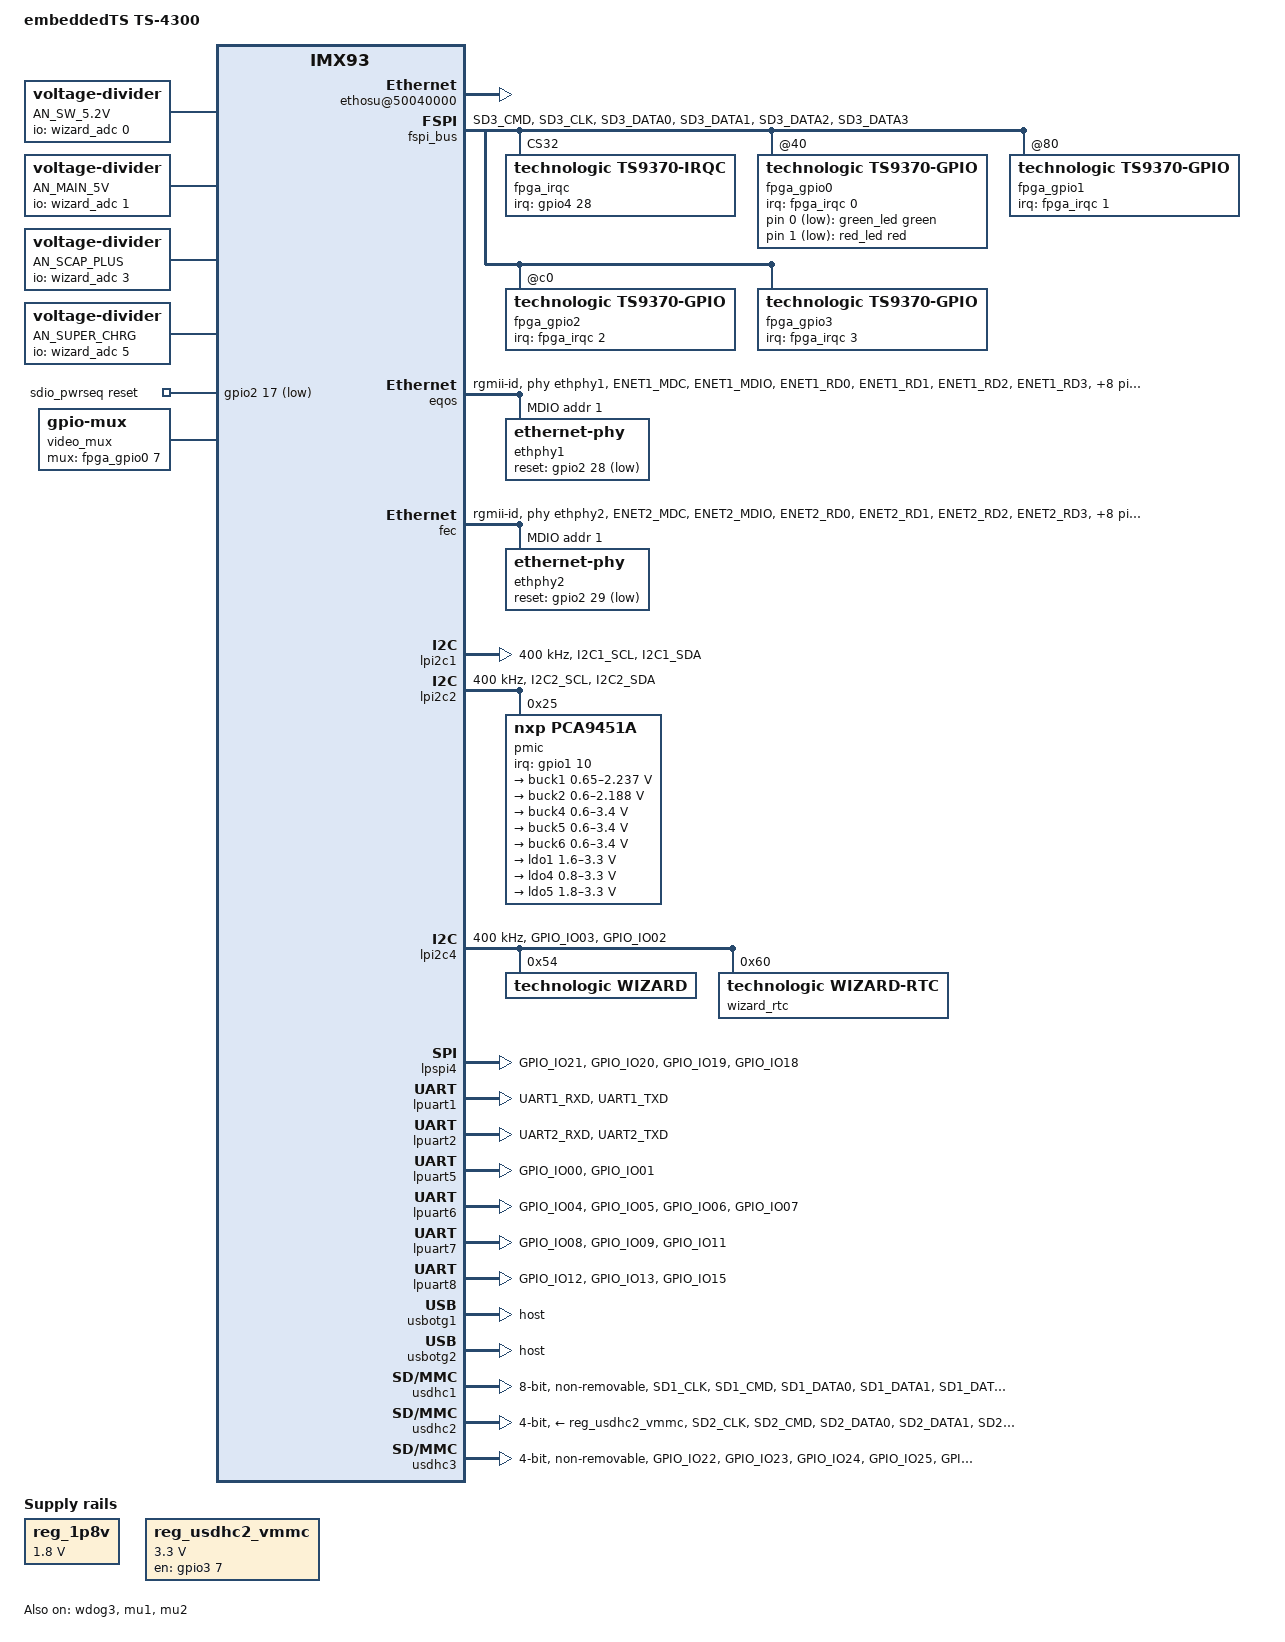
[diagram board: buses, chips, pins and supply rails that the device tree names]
// SPDX-License-Identifier: (GPL-2.0+ OR MIT)
/*
 * Copyright 2023-2025 Technologic Systems, Inc. (dba embeddedTS)
 */

/dts-v1/;

#include <dt-bindings/leds/common.h>
#include "imx93.dtsi"

/ {
	model = "embeddedTS TS-4300";
	compatible = "technologic,ts4300", "fsl,imx93";

	chosen {
		bootargs = "console=ttyLP0,115200";
		stdout-path = &lpuart1;
	};

	aliases {
		gpio4 = &fpga_gpio0;
		gpio5 = &fpga_gpio1;
		gpio6 = &fpga_gpio2;
		gpio7 = &fpga_gpio3;
	};

	reserved-memory {
		#address-cells = <2>;
		#size-cells = <2>;
		ranges;

		linux,cma {
			compatible = "shared-dma-pool";
			reusable;
			alloc-ranges = <0 0x80000000 0 0x40000000>;
			size = <0 0x10000000>;
			linux,cma-default;
		};

		vdev0vring0: vdev0vring0@a4000000 {
			reg = <0 0xa4000000 0 0x8000>;
			no-map;
		};

		vdev0vring1: vdev0vring1@a4008000 {
			reg = <0 0xa4008000 0 0x8000>;
			no-map;
		};

		vdev1vring0: vdev1vring0@a4010000 {
			reg = <0 0xa4010000 0 0x8000>;
			no-map;
		};

		vdev1vring1: vdev1vring1@a4018000 {
			reg = <0 0xa4018000 0 0x8000>;
			no-map;
		};

		rsc_table: rsc-table@2021e000 {
			reg = <0 0x2021e000 0 0x1000>;
			no-map;
		};

		vdevbuffer: vdevbuffer@a4020000 {
			compatible = "shared-dma-pool";
			reg = <0 0xa4020000 0 0x100000>;
			no-map;
		};

		ele_reserved: ele-reserved@a4120000 {
			compatible = "shared-dma-pool";
			reg = <0 0xa4120000 0 0x100000>;
			no-map;
		};

		ethosu_mem: ethosu-reserved@a5000000 {
			compatible = "shared-dma-pool";
			reg = <0x0 0xa5000000 0x0 0x10000000>;  /* 256 MB */
			reusable;
		};
	};

	ethosu@50040000 {
		compatible = "arm,ethosu";
		//fsl,cm33-proc = <&cm33>;
		memory-region = <&ethosu_mem>;
		power-domains = <&mlmix>;
	};

	leds {
		compatible = "gpio-leds";

		green_led: led-0 {
			color = <LED_COLOR_ID_GREEN>;
			function = LED_FUNCTION_POWER;
			gpios = <&fpga_gpio0 0 GPIO_ACTIVE_LOW>;
			default-state = "on";
		};

		red_led: led-1 {
			color = <LED_COLOR_ID_RED>;
			function = LED_FUNCTION_STATUS;
			gpios = <&fpga_gpio0 1 GPIO_ACTIVE_LOW>;
			default-state = "off";
		};
	};

	reg_1p8v: regulator-1p8v {
		compatible = "regulator-fixed";
		regulator-name = "VDD_1V8";
		regulator-min-microvolt = <1800000>;
		regulator-max-microvolt = <1800000>;
		regulator-boot-on;
		regulator-always-on;
	};

	reg_usdhc2_vmmc: regulator-usdhc2 {
		compatible = "regulator-fixed";
		pinctrl-names = "default";
		pinctrl-0 = <&pinctrl_reg_usdhc2_vmmc>;
		regulator-name = "VSD_3V3";
		regulator-min-microvolt = <3300000>;
		regulator-max-microvolt = <3300000>;
		gpio = <&gpio3 7 GPIO_ACTIVE_HIGH>;
		off-on-delay-us = <12000>;
		enable-active-high;
	};

	an_5p2va: an-5p2va {
		compatible = "voltage-divider";
		io-channels = <&wizard_adc 0>;
		label = "AN_SW_5.2V";
		output-ohms = <75000>; /* R2: 75k */
		full-ohms = <150000>;  /* R1 (75k) + R2 (75k) */
		#io-channel-cells = <0>;
	};

	an_main_5v: an-main-5v {
		compatible = "voltage-divider";
		io-channels = <&wizard_adc 1>;
		label = "AN_MAIN_5V";
		output-ohms = <100000>; /* R2: 100k */
		full-ohms = <200000>;  /* R1 (100k) + R2 (100k) */
		#io-channel-cells = <0>;
	};

	an_scap_plus: an-scap-plus {
		compatible = "voltage-divider";
		io-channels = <&wizard_adc 3>;
		label = "AN_SCAP_PLUS";
		output-ohms = <100000>; /* R2: 100k */
		full-ohms = <200000>;  /* R1 (100k) + R2 (100k) */
		#io-channel-cells = <0>;
	};

	an_vchrg: an-vchrg {
		compatible = "voltage-divider";
		io-channels = <&wizard_adc 5>;
		label = "AN_SUPER_CHRG";
		output-ohms = <100000>; /* R2: 100k */
		full-ohms = <200000>;  /* R1 (100k) + R2 (100k) */
		#io-channel-cells = <0>;
	};

	sdio_pwrseq: sdio-pwrseq {
		compatible = "mmc-pwrseq-simple";
		pinctrl-names = "default";
		pinctrl-0 = <&pinctrl_wifi_pwr>;
		reset-gpios = <&gpio2 17 GPIO_ACTIVE_LOW>;
	};

	video_mux: mux-controller {
		compatible = "gpio-mux";
		#mux-state-cells = <0>;
		mux-gpios = <&fpga_gpio0 7 GPIO_ACTIVE_HIGH>;
		idle-state = <0>;
	};
};

&aips2 {
	fspi_bus: fspi-bus@425e0000 {
		compatible = "nxp,imx93-fspi-bus";
		reg = <0x425e0000 0x10000>, <0x28000000 0x10000000>;
		reg-names = "fspi_base", "fspi_mmap";
		#address-cells = <1>;
		#size-cells = <1>;
		clocks = <&clk IMX93_CLK_FLEXSPI1_GATE>,
			 <&clk IMX93_CLK_FLEXSPI1_GATE>;
		clock-names = "fspi", "fspi_en";
		assigned-clocks = <&clk IMX93_CLK_FLEXSPI1>;
		assigned-clock-parents = <&clk IMX93_CLK_SYS_PLL_PFD1>;

		pinctrl-names = "default";
		pinctrl-0 = <&pinctrl_flexspi>;
		
		assigned-clock-rates = <66666666>;
		ranges = <0 0x28000000 0x10000000>;

		fpga_irqc: irq@28000020 {
			compatible = "technologic,ts9370-irqc";
			reg = <0x20 0x20>;
			pinctrl-names = "default";
			pinctrl-0 = <&pinctrl_fpga_irq>;

			interrupt-parent = <&gpio4>;
			interrupts = <28 IRQ_TYPE_LEVEL_HIGH>;

			#interrupt-cells = <1>;
			interrupt-controller;
		};

		fpga_gpio0: gpio@28000040 {
			compatible = "technologic,ts9370-gpio";
			reg = <0x40 0x40>;

			gpio-controller;
			#gpio-cells = <2>;

			interrupt-parent = <&fpga_irqc>;
			interrupts = <0>;
			#interrupt-cells = <2>;
			interrupt-controller;

			gpio-line-names =
				"EN_GREEN_LED#", "EN_RED_LED#", "", "", "SPI4_CN2_CS#",
				"EN_USB_HOST_5V", "OFF_BD_RESET#", "SEL_LVDS", "SPI_4_CS#_1V8";
		};

		fpga_gpio1: gpio@28000080 {
			compatible = "technologic,ts9370-gpio";
			reg = <0x80 0x40>;

			gpio-controller;
			#gpio-cells = <2>;

			interrupt-parent = <&fpga_irqc>;
			interrupts = <1>;
			#interrupt-cells = <2>;
			interrupt-controller;

			gpio-line-names =
				"DIO_01", "DIO_02", "DIO_03", "DIO_04", "DIO_05",
				"DIO_06", "DIO_07", "DIO_08", "DIO_09", "DIO_10",
				"DIO_11", "DIO_12", "DIO_13", "DIO_14", "DIO_15",
				"DIO_16", "DIO_17", "DIO_18", "DIO_19", "DIO_20",
				"DIO_21", "DIO_22", "DIO_23", "DIO_24", "DIO_25",
				"DIO_26", "DIO_27", "DIO_28", "DIO_29", "DIO_30",
				"DIO_31", "DIO_32";
		};

		fpga_gpio2: gpio@280000c0 {
			compatible = "technologic,ts9370-gpio";
			reg = <0xC0 0x40>;

			gpio-controller;
			#gpio-cells = <2>;

			interrupt-parent = <&fpga_irqc>;
			interrupts = <2>;
			#interrupt-cells = <2>;
			interrupt-controller;
			gpio-line-names =
				"DIO_33", "DIO_34", "DIO_35", "DIO_36", "DIO_37",
				"DIO_38", "DIO_39", "DIO_40", "DIO_41", "DIO_42",
				"DIO_43", "DIO_44", "DIO_45", "DIO_46", "DIO_47",
				"DIO_48", "DIO_49", "DIO_50", "DIO_51", "DIO_52",
				"DIO_53", "DIO_54", "DIO_55", "DIO_56", "DIO_57",
				"DIO_58", "DIO_59", "DIO_60", "DIO_61", "DIO_62",
				"DIO_63", "DIO_64";
		};

		fpga_gpio3: gpio@28000100 {
			compatible = "technologic,ts9370-gpio";
			reg = <0x100 0x40>;

			gpio-controller;
			#gpio-cells = <2>;

			interrupt-parent = <&fpga_irqc>;
			interrupts = <3>;
			#interrupt-cells = <2>;
			interrupt-controller;

			gpio-line-names =
				"DIO_65", "DIO_66", "DIO_67", "DIO_68","DIO_69",
				"DIO_70", "DIO_71", "DIO_72", "DIO_73", "DIO_74",
				"DIO_75", "DIO_76", "DIO_77", "DIO_78", "DIO_79",
				"DIO_80", "DIO_81", "DIO_82", "DIO_83", "DIO_84",
				"DIO_85", "DIO_86", "DIO_87", "DIO_88", "DIO_89",
				"DIO_90";
		};

		fpga_xbar: pinctrl@28002000 {
			compatible = "technologic,ts9370-xbar";
			reg = <0x2000 0x200>;
		};
	};
};

&bbnsm_rtc {
	status = "disabled";
};

//&cm33 {
//	mbox-names = "tx", "rx", "rxdb";
//	mboxes = <&mu1 0 1>,
//		 <&mu1 1 1>,
//		 <&mu1 3 1>;
//	memory-region = <&vdevbuffer>, <&vdev0vring0>, <&vdev0vring1>,
//			<&vdev1vring0>, <&vdev1vring1>, <&rsc_table>;
//	status = "okay";
//};

&eqos {
	pinctrl-names = "default", "sleep";
	pinctrl-0 = <&pinctrl_eqos>;
	pinctrl-1 = <&pinctrl_eqos_sleep>;
	phy-mode = "rgmii-id";
	phy-handle = <&ethphy1>;
	status = "okay";

	mdio {
		compatible = "snps,dwmac-mdio";
		#address-cells = <1>;
		#size-cells = <0>;
		clock-frequency = <5000000>;

		ethphy1: ethernet-phy@1 {
			//compatible = "ethernet-phy-ieee802.3-c22";
			reg = <1>;
			eee-broken-1000t;
			pinctrl-names = "default";
			pinctrl-0 = <&pinctrl_eqos_phy>;
			reset-gpios = <&gpio2 28 GPIO_ACTIVE_LOW>;
			reset-assert-us = <6>;
			reset-deassert-us = <50000>;
		};
	};
};

&fec {
	pinctrl-names = "default", "sleep";
	pinctrl-0 = <&pinctrl_fec>;
	pinctrl-1 = <&pinctrl_fec_sleep>;
	phy-mode = "rgmii-id";
	phy-handle = <&ethphy2>;
	fsl,magic-packet;
	status = "okay";

	mdio {
		#address-cells = <1>;
		#size-cells = <0>;
		clock-frequency = <5000000>;

		ethphy2: ethernet-phy@1 {
			//compatible = "ethernet-phy-ieee802.3-c22";
			reg = <1>;
			pinctrl-names = "default";
			pinctrl-0 = <&pinctrl_fec_phy>;
			eee-broken-1000t;
			reset-gpios = <&gpio2 29 GPIO_ACTIVE_LOW>;
			reset-assert-us = <6>;
			reset-deassert-us = <50000>;
		};
	};
};

&flexcan1 {
	pinctrl-names = "default";
	pinctrl-0 = <&pinctrl_flexcan1>;
	status = "disabled";
};

&flexcan2 {
	pinctrl-names = "default";
	pinctrl-0 = <&pinctrl_flexcan2>;
	status = "disabled";
};

//&lcdif {
//	status = "disabled";
//	assigned-clock-rates = <484000000>, <121000000>, <400000000>, <133333333>;
//};

&lpi2c1 {
	#address-cells = <1>;
	#size-cells = <0>;
	clock-frequency = <400000>;
	pinctrl-names = "default", "sleep";
	pinctrl-0 = <&pinctrl_lpi2c1>;
	pinctrl-1 = <&pinctrl_lpi2c1>;
	status = "okay";
};

&lpi2c2 {
	#address-cells = <1>;
	#size-cells = <0>;
	clock-frequency = <400000>;
	pinctrl-names = "default", "sleep";
	pinctrl-0 = <&pinctrl_lpi2c2>;
	pinctrl-1 = <&pinctrl_lpi2c2>;
	status = "okay";

	pmic@25 {
		compatible = "nxp,pca9451a";
		reg = <0x25>;
		pinctrl-names = "default";
		pinctrl-0 = <&pinctrl_pmic>;
		interrupt-parent = <&gpio1>;
		interrupts = <10 IRQ_TYPE_LEVEL_LOW>;

		regulators {
			buck1: BUCK1 {
				regulator-name = "BUCK1";
				regulator-min-microvolt = <650000>;
				regulator-max-microvolt = <2237500>;
				regulator-boot-on;
				regulator-always-on;
				regulator-ramp-delay = <3125>;
			};

			buck2: BUCK2 {
				regulator-name = "BUCK2";
				regulator-min-microvolt = <600000>;
				regulator-max-microvolt = <2187500>;
				regulator-boot-on;
				regulator-always-on;
				regulator-ramp-delay = <3125>;
			};

			buck4: BUCK4 {
				regulator-name = "BUCK4";
				regulator-min-microvolt = <600000>;
				regulator-max-microvolt = <3400000>;
				regulator-boot-on;
				regulator-always-on;
			};

			buck5: BUCK5 {
				regulator-name = "BUCK5";
				regulator-min-microvolt = <600000>;
				regulator-max-microvolt = <3400000>;
				regulator-boot-on;
				regulator-always-on;
			};

			buck6: BUCK6 {
				regulator-name = "BUCK6";
				regulator-min-microvolt = <600000>;
				regulator-max-microvolt = <3400000>;
				regulator-boot-on;
				regulator-always-on;
			};

			ldo1: LDO1 {
				regulator-name = "LDO1";
				regulator-min-microvolt = <1600000>;
				regulator-max-microvolt = <3300000>;
				regulator-boot-on;
				regulator-always-on;
			};

			ldo4: LDO4 {
				regulator-name = "LDO4";
				regulator-min-microvolt = <800000>;
				regulator-max-microvolt = <3300000>;
				regulator-boot-on;
				regulator-always-on;
			};

			ldo5: LDO5 {
				regulator-name = "LDO5";
				regulator-min-microvolt = <1800000>;
				regulator-max-microvolt = <3300000>;
				regulator-boot-on;
				regulator-always-on;
			};
		};
	};
};

&lpi2c4 {
	#address-cells = <1>;
	#size-cells = <0>;
	clock-frequency = <400000>;
	pinctrl-names = "default";
	pinctrl-0 = <&pinctrl_lpi2c4>;
	status = "okay";

	wizard: wizard@54 {
		compatible = "technologic,wizard";
		reg = <0x54>;

		wizard_adc: adc {
			compatible = "technologic,wizard-adc";
			#io-channel-cells = <1>;
		};

		wizard_irq: irq {
			compatible = "technologic,wizard-irq";
			pinctrl-names = "default";
			pinctrl-0 = <&pinctrl_wizirq>;

			interrupt-parent = <&gpio4>;
			interrupts = <29 IRQ_TYPE_LEVEL_HIGH>;

			#interrupt-cells = <1>;
			interrupt-controller;
		};

		wizard_silo: ups {
			compatible = "technologic,wizard-silo";
			interrupt-parent = <&wizard_irq>;
			interrupts = <0>;
			status = "disabled";
		};

		wizard_temp: temp {
			compatible = "technologic,wizard-temp";
			#io-channel-cells = <0>;
		};

		wizard_reset: reset {
			compatible = "technologic,wizard-reset";
		};
	};

	wizard_rtc: rtc@60 {
		compatible = "technologic,wizard-rtc";
		reg = <0x60>;
		wakeup-source;
	};
};

&lpspi4 {
	num-cs = <1>;
	pinctrl-names = "default";
	pinctrl-0 = <&pinctrl_lpspi4>;
	cs-gpios = <&gpio2 18 GPIO_ACTIVE_LOW>;
	status = "okay";
};

&lpuart1 {
	pinctrl-names = "default";
	pinctrl-0 = <&pinctrl_uart1>;
	status = "okay";
};

&lpuart2 {
	pinctrl-names = "default";
	pinctrl-0 = <&pinctrl_uart2>;
	status = "okay";
};

&lpuart5 {
	pinctrl-names = "default";
	pinctrl-0 = <&pinctrl_uart5>;
	status = "okay";
};

&lpuart6 {
	pinctrl-names = "default";
	pinctrl-0 = <&pinctrl_uart6>;
	uart-has-rtscts;
	status = "okay";
};

&lpuart7 {
	pinctrl-names = "default";
	pinctrl-0 = <&pinctrl_uart7>;
	status = "okay";
};

&lpuart8 {
	pinctrl-names = "default";
	pinctrl-0 = <&pinctrl_uart8>;
	status = "okay";
};

&usbotg1 {
	dr_mode = "host";
	status = "okay";
};

&usbotg2 {
	#address-cells = <1>;
	#size-cells = <0>;
	dr_mode = "host";
	status = "okay";
};

/* eMMC */
&usdhc1 {
	pinctrl-names = "default", "state_100mhz", "state_200mhz";
	pinctrl-0 = <&pinctrl_usdhc1>;
	pinctrl-1 = <&pinctrl_usdhc1_100mhz>;
	pinctrl-2 = <&pinctrl_usdhc1_200mhz>;
	bus-width = <8>;
	non-removable;
	status = "okay";
};

/* microSD */
&usdhc2 {
	pinctrl-names = "default", "state_100mhz", "state_200mhz";
	pinctrl-0 = <&pinctrl_usdhc2>, <&pinctrl_usdhc2_gpio>;
	pinctrl-1 = <&pinctrl_usdhc2_100mhz>, <&pinctrl_usdhc2_gpio>;
	pinctrl-2 = <&pinctrl_usdhc2_200mhz>, <&pinctrl_usdhc2_gpio>;
	cd-gpios = <&gpio3 00 GPIO_ACTIVE_LOW>;
	fsl,cd-gpio-wakeup-disable;
	vmmc-supply = <&reg_usdhc2_vmmc>;
	bus-width = <4>;
	status = "okay";
	no-sdio;
	no-mmc;
};

/* WiFi */
&usdhc3 {
	pinctrl-names = "default", "state_100mhz", "state_200mhz";
	pinctrl-0 = <&pinctrl_usdhc3>;
	pinctrl-1 = <&pinctrl_usdhc3_100mhz>;
	pinctrl-2 = <&pinctrl_usdhc3_200mhz>;
	mmc-pwrseq = <&sdio_pwrseq>;
	bus-width = <4>;
	keep-power-in-suspend;
	non-removable;
	wakeup-source;
	status = "okay";
};

&iomuxc {
	pinctrl-names = "default";

	pinctrl_eqos: eqosgrp {
		fsl,pins = <
			MX93_PAD_ENET1_MDC__ENET_QOS_MDC			0x57e
			MX93_PAD_ENET1_MDIO__ENET_QOS_MDIO			0x57e
			MX93_PAD_ENET1_RD0__ENET_QOS_RGMII_RD0			0x57e
			MX93_PAD_ENET1_RD1__ENET_QOS_RGMII_RD1			0x57e
			MX93_PAD_ENET1_RD2__ENET_QOS_RGMII_RD2			0x57e
			MX93_PAD_ENET1_RD3__ENET_QOS_RGMII_RD3			0x57e
			MX93_PAD_ENET1_RXC__CCM_ENET_QOS_CLOCK_GENERATE_RX_CLK	0x5fe
			MX93_PAD_ENET1_RX_CTL__ENET_QOS_RGMII_RX_CTL		0x57e
			MX93_PAD_ENET1_TD0__ENET_QOS_RGMII_TD0			0x57e
			MX93_PAD_ENET1_TD1__ENET_QOS_RGMII_TD1			0x57e
			MX93_PAD_ENET1_TD2__ENET_QOS_RGMII_TD2			0x57e
			MX93_PAD_ENET1_TD3__ENET_QOS_RGMII_TD3			0x57e
			MX93_PAD_ENET1_TXC__CCM_ENET_QOS_CLOCK_GENERATE_TX_CLK	0x5fe
			MX93_PAD_ENET1_TX_CTL__ENET_QOS_RGMII_TX_CTL		0x57e
		>;
	};

	pinctrl_eqos_sleep: eqossleepgrp {
		fsl,pins = <
			MX93_PAD_ENET1_MDC__GPIO4_IO00				0x31e
			MX93_PAD_ENET1_MDIO__GPIO4_IO01				0x31e
			MX93_PAD_ENET1_RD0__GPIO4_IO10				0x31e
			MX93_PAD_ENET1_RD1__GPIO4_IO11				0x31e
			MX93_PAD_ENET1_RD2__GPIO4_IO12				0x31e
			MX93_PAD_ENET1_RD3__GPIO4_IO13				0x31e
			MX93_PAD_ENET1_RXC__GPIO4_IO09				0x31e
			MX93_PAD_ENET1_RX_CTL__GPIO4_IO08			0x31e
			MX93_PAD_ENET1_TD0__GPIO4_IO05				0x31e
			MX93_PAD_ENET1_TD1__GPIO4_IO04				0x31e
			MX93_PAD_ENET1_TD2__GPIO4_IO03				0x31e
			MX93_PAD_ENET1_TD3__GPIO4_IO02				0x31e
			MX93_PAD_ENET1_TXC__GPIO4_IO07				0x31e
			MX93_PAD_ENET1_TX_CTL__GPIO4_IO06			0x31e
		>;
	};

	pinctrl_eqos_phy: eqosphygrp {
		fsl,pins = <
			MX93_PAD_GPIO_IO28__GPIO2_IO28		0x1306
		>;
	};

	pinctrl_flexcan1: flexcan1grp {
		fsl,pins = <
			MX93_PAD_PDM_CLK__CAN1_TX		0x139e
			MX93_PAD_PDM_BIT_STREAM0__CAN1_RX	0x139e
		>;
	};

	pinctrl_flexcan2: flexcan2grp {
		fsl,pins = <
			MX93_PAD_DAP_TDI__CAN2_TX		0x139e
			MX93_PAD_DAP_TDO_TRACESWO__CAN2_RX	0x139e
		>;
	};

	pinctrl_flexspi: flexspigrp {
		fsl,pins = <
			MX93_PAD_SD3_CMD__FLEXSPI1_A_SS0_B      0x42
			MX93_PAD_SD3_CLK__FLEXSPI1_A_SCLK       0x42
			MX93_PAD_SD3_DATA0__FLEXSPI1_A_DATA00   0x42
			MX93_PAD_SD3_DATA1__FLEXSPI1_A_DATA01   0x42
			MX93_PAD_SD3_DATA2__FLEXSPI1_A_DATA02   0x42
			MX93_PAD_SD3_DATA3__FLEXSPI1_A_DATA03   0x42
		>;
	};

	pinctrl_fec: fecgrp {
		fsl,pins = <
			MX93_PAD_ENET2_MDC__ENET1_MDC			0x57e
			MX93_PAD_ENET2_MDIO__ENET1_MDIO			0x57e
			MX93_PAD_ENET2_RD0__ENET1_RGMII_RD0		0x57e
			MX93_PAD_ENET2_RD1__ENET1_RGMII_RD1		0x57e
			MX93_PAD_ENET2_RD2__ENET1_RGMII_RD2		0x57e
			MX93_PAD_ENET2_RD3__ENET1_RGMII_RD3		0x57e
			MX93_PAD_ENET2_RXC__ENET1_RGMII_RXC		0x5fe
			MX93_PAD_ENET2_RX_CTL__ENET1_RGMII_RX_CTL	0x57e
			MX93_PAD_ENET2_TD0__ENET1_RGMII_TD0		0x57e
			MX93_PAD_ENET2_TD1__ENET1_RGMII_TD1		0x57e
			MX93_PAD_ENET2_TD2__ENET1_RGMII_TD2		0x57e
			MX93_PAD_ENET2_TD3__ENET1_RGMII_TD3		0x57e
			MX93_PAD_ENET2_TXC__ENET1_RGMII_TXC		0x5fe
			MX93_PAD_ENET2_TX_CTL__ENET1_RGMII_TX_CTL	0x57e
		>;
	};

	pinctrl_fec_sleep: fecsleepgrp {
		fsl,pins = <
			MX93_PAD_ENET2_MDC__GPIO4_IO14			0x51e
			MX93_PAD_ENET2_MDIO__GPIO4_IO15			0x51e
			MX93_PAD_ENET2_RD0__GPIO4_IO24			0x51e
			MX93_PAD_ENET2_RD1__GPIO4_IO25			0x51e
			MX93_PAD_ENET2_RD2__GPIO4_IO26			0x51e
			MX93_PAD_ENET2_RD3__GPIO4_IO27			0x51e
			MX93_PAD_ENET2_RXC__GPIO4_IO23                  0x51e
			MX93_PAD_ENET2_RX_CTL__GPIO4_IO22		0x51e
			MX93_PAD_ENET2_TD0__GPIO4_IO19			0x51e
			MX93_PAD_ENET2_TD1__GPIO4_IO18			0x51e
			MX93_PAD_ENET2_TD2__GPIO4_IO17			0x51e
			MX93_PAD_ENET2_TD3__GPIO4_IO16			0x51e
			MX93_PAD_ENET2_TXC__GPIO4_IO21                  0x51e
			MX93_PAD_ENET2_TX_CTL__GPIO4_IO20               0x51e
		>;
	};

	pinctrl_fec_phy: fecphygrp {
		fsl,pins = <
			MX93_PAD_GPIO_IO29__GPIO2_IO29		0x1306
		>;
	};

	pinctrl_fpga_irq: fpgairqgrp {
		fsl,pins = <
			MX93_PAD_CCM_CLKO3__GPIO4_IO28		0x40000b9e
		>;
	};

	pinctrl_lpi2c1: lpi2c1grp {
		fsl,pins = <
			MX93_PAD_I2C1_SCL__LPI2C1_SCL		0x40000b9e
			MX93_PAD_I2C1_SDA__LPI2C1_SDA		0x40000b9e
		>;
	};

	pinctrl_lpi2c2: lpi2c2grp {
		fsl,pins = <
			MX93_PAD_I2C2_SCL__LPI2C2_SCL		0x40000b9e
			MX93_PAD_I2C2_SDA__LPI2C2_SDA		0x40000b9e
		>;
	};

	pinctrl_lpi2c4: lpi2c4grp {
		fsl,pins = <
			MX93_PAD_GPIO_IO03__LPI2C4_SCL		0x40000b9e
			MX93_PAD_GPIO_IO02__LPI2C4_SDA		0x40000b9e
		>;
	};

	pinctrl_pmic: pmicgrp {
		fsl,pins = <
			MX93_PAD_PDM_BIT_STREAM1__GPIO1_IO10	0x40000b9e
		>;
	};

	pinctrl_lpspi4: spi4grp {
		fsl,pins = <
			MX93_PAD_GPIO_IO21__LPSPI4_SCK		0x3fe
			MX93_PAD_GPIO_IO20__LPSPI4_SOUT		0x3fe
			MX93_PAD_GPIO_IO19__LPSPI4_SIN		0x3fe
			MX93_PAD_GPIO_IO18__GPIO2_IO18		0x3fe
		>;
	};

	pinctrl_uart1: uart1grp {
		fsl,pins = <
			MX93_PAD_UART1_RXD__LPUART1_RX		0x31e
			MX93_PAD_UART1_TXD__LPUART1_TX		0x31e
		>;
	};

	pinctrl_uart2: uart2grp {
		fsl,pins = <
			MX93_PAD_UART2_RXD__LPUART2_RX		0x31e
			MX93_PAD_UART2_TXD__LPUART2_TX		0x31e
		>;
	};

	pinctrl_uart5: uart5grp {
		fsl,pins = <
			MX93_PAD_GPIO_IO00__LPUART5_TX		0x31e
			MX93_PAD_GPIO_IO01__LPUART5_RX		0x31e
		>;
	};

	pinctrl_uart6: uart6grp {
		fsl,pins = <
			MX93_PAD_GPIO_IO04__LPUART6_TX		0x31e
			MX93_PAD_GPIO_IO05__LPUART6_RX		0x31e
			MX93_PAD_GPIO_IO06__LPUART6_CTS_B	0x31e
			MX93_PAD_GPIO_IO07__LPUART6_RTS_B	0x31e
		>;
	};

	pinctrl_uart7: uart7grp {
		fsl,pins = <
			MX93_PAD_GPIO_IO08__LPUART7_TX		0x31e
			MX93_PAD_GPIO_IO09__LPUART7_RX		0x31e
			MX93_PAD_GPIO_IO11__LPUART7_RTS_B	0x51e
		>;
	};

	pinctrl_uart8: uart8grp {
		fsl,pins = <
			MX93_PAD_GPIO_IO12__LPUART8_TX		0x31e
			MX93_PAD_GPIO_IO13__LPUART8_RX		0x31e
			MX93_PAD_GPIO_IO15__LPUART8_RTS_B	0x51e
		>;
	};

	/* need to config the SION for data and cmd pad, refer to ERR052021 */
	pinctrl_usdhc1: usdhc1grp {
		fsl,pins = <
			MX93_PAD_SD1_CLK__USDHC1_CLK		0x1582
			MX93_PAD_SD1_CMD__USDHC1_CMD		0x40001382
			MX93_PAD_SD1_DATA0__USDHC1_DATA0	0x40001382
			MX93_PAD_SD1_DATA1__USDHC1_DATA1	0x40001382
			MX93_PAD_SD1_DATA2__USDHC1_DATA2	0x40001382
			MX93_PAD_SD1_DATA3__USDHC1_DATA3	0x40001382
			MX93_PAD_SD1_DATA4__USDHC1_DATA4	0x40001382
			MX93_PAD_SD1_DATA5__USDHC1_DATA5	0x40001382
			MX93_PAD_SD1_DATA6__USDHC1_DATA6	0x40001382
			MX93_PAD_SD1_DATA7__USDHC1_DATA7	0x40001382
			MX93_PAD_SD1_STROBE__USDHC1_STROBE	0x1582
		>;
	};

	/* need to config the SION for data and cmd pad, refer to ERR052021 */
	pinctrl_usdhc1_100mhz: usdhc1-100mhzgrp {
		fsl,pins = <
			MX93_PAD_SD1_CLK__USDHC1_CLK		0x158e
			MX93_PAD_SD1_CMD__USDHC1_CMD		0x4000138e
			MX93_PAD_SD1_DATA0__USDHC1_DATA0	0x4000138e
			MX93_PAD_SD1_DATA1__USDHC1_DATA1	0x4000138e
			MX93_PAD_SD1_DATA2__USDHC1_DATA2	0x4000138e
			MX93_PAD_SD1_DATA3__USDHC1_DATA3	0x4000138e
			MX93_PAD_SD1_DATA4__USDHC1_DATA4	0x4000138e
			MX93_PAD_SD1_DATA5__USDHC1_DATA5	0x4000138e
			MX93_PAD_SD1_DATA6__USDHC1_DATA6	0x4000138e
			MX93_PAD_SD1_DATA7__USDHC1_DATA7	0x4000138e
			MX93_PAD_SD1_STROBE__USDHC1_STROBE	0x158e
		>;
	};

	/* need to config the SION for data and cmd pad, refer to ERR052021 */
	pinctrl_usdhc1_200mhz: usdhc1-200mhzgrp {
		fsl,pins = <
			MX93_PAD_SD1_CLK__USDHC1_CLK		0x15fe
			MX93_PAD_SD1_CMD__USDHC1_CMD		0x400013fe
			MX93_PAD_SD1_DATA0__USDHC1_DATA0	0x400013fe
			MX93_PAD_SD1_DATA1__USDHC1_DATA1	0x400013fe
			MX93_PAD_SD1_DATA2__USDHC1_DATA2	0x400013fe
			MX93_PAD_SD1_DATA3__USDHC1_DATA3	0x400013fe
			MX93_PAD_SD1_DATA4__USDHC1_DATA4	0x400013fe
			MX93_PAD_SD1_DATA5__USDHC1_DATA5	0x400013fe
			MX93_PAD_SD1_DATA6__USDHC1_DATA6	0x400013fe
			MX93_PAD_SD1_DATA7__USDHC1_DATA7	0x400013fe
			MX93_PAD_SD1_STROBE__USDHC1_STROBE	0x15fe
		>;
	};

	pinctrl_reg_usdhc2_vmmc: regusdhc2vmmcgrp {
		fsl,pins = <
			MX93_PAD_SD2_RESET_B__GPIO3_IO07	0x31e
		>;
	};

	pinctrl_usdhc2_gpio: usdhc2gpiogrp {
		fsl,pins = <
			MX93_PAD_SD2_CD_B__GPIO3_IO00		0x31e
		>;
	};

	/* need to config the SION for data and cmd pad, refer to ERR052021 */
	pinctrl_usdhc2: usdhc2grp {
		fsl,pins = <
			MX93_PAD_SD2_CLK__USDHC2_CLK		0x1582
			MX93_PAD_SD2_CMD__USDHC2_CMD		0x40001382
			MX93_PAD_SD2_DATA0__USDHC2_DATA0	0x40001382
			MX93_PAD_SD2_DATA1__USDHC2_DATA1	0x40001382
			MX93_PAD_SD2_DATA2__USDHC2_DATA2	0x40001382
			MX93_PAD_SD2_DATA3__USDHC2_DATA3	0x40001382
			MX93_PAD_SD2_VSELECT__USDHC2_VSELECT	0x51e
		>;
	};

	/* need to config the SION for data and cmd pad, refer to ERR052021 */
	pinctrl_usdhc2_100mhz: usdhc2-100mhzgrp {
		fsl,pins = <
			MX93_PAD_SD2_CLK__USDHC2_CLK		0x158e
			MX93_PAD_SD2_CMD__USDHC2_CMD		0x4000138e
			MX93_PAD_SD2_DATA0__USDHC2_DATA0	0x4000138e
			MX93_PAD_SD2_DATA1__USDHC2_DATA1	0x4000138e
			MX93_PAD_SD2_DATA2__USDHC2_DATA2	0x4000138e
			MX93_PAD_SD2_DATA3__USDHC2_DATA3	0x4000138e
			MX93_PAD_SD2_VSELECT__USDHC2_VSELECT	0x51e
		>;
	};

	/* need to config the SION for data and cmd pad, refer to ERR052021 */
	pinctrl_usdhc2_200mhz: usdhc2-200mhzgrp {
		fsl,pins = <
			MX93_PAD_SD2_CLK__USDHC2_CLK		0x15fe
			MX93_PAD_SD2_CMD__USDHC2_CMD		0x400013fe
			MX93_PAD_SD2_DATA0__USDHC2_DATA0	0x400013fe
			MX93_PAD_SD2_DATA1__USDHC2_DATA1	0x400013fe
			MX93_PAD_SD2_DATA2__USDHC2_DATA2	0x400013fe
			MX93_PAD_SD2_DATA3__USDHC2_DATA3	0x400013fe
			MX93_PAD_SD2_VSELECT__USDHC2_VSELECT	0x51e
		>;
	};

	/* need to config the SION for data and cmd pad, refer to ERR052021 */
	pinctrl_usdhc3: usdhc3grp {
		fsl,pins = <
			MX93_PAD_GPIO_IO22__USDHC3_CLK		0x1582
			MX93_PAD_GPIO_IO23__USDHC3_CMD		0x40001382
			MX93_PAD_GPIO_IO24__USDHC3_DATA0	0x40001382
			MX93_PAD_GPIO_IO25__USDHC3_DATA1	0x40001382
			MX93_PAD_GPIO_IO26__USDHC3_DATA2	0x40001382
			MX93_PAD_GPIO_IO27__USDHC3_DATA3	0x40001382
		>;
	};

	/* need to config the SION for data and cmd pad, refer to ERR052021 */
	pinctrl_usdhc3_100mhz: usdhc3-100mhzgrp {
		fsl,pins = <
			MX93_PAD_GPIO_IO22__USDHC3_CLK		0x158e
			MX93_PAD_GPIO_IO23__USDHC3_CMD		0x4000138e
			MX93_PAD_GPIO_IO24__USDHC3_DATA0	0x4000138e
			MX93_PAD_GPIO_IO25__USDHC3_DATA1	0x4000138e
			MX93_PAD_GPIO_IO26__USDHC3_DATA2	0x4000138e
			MX93_PAD_GPIO_IO27__USDHC3_DATA3	0x4000138e
		>;
	};

	/* need to config the SION for data and cmd pad, refer to ERR052021 */
	pinctrl_usdhc3_200mhz: usdhc3-200mhzgrp {
		fsl,pins = <
			MX93_PAD_GPIO_IO22__USDHC3_CLK		0x15fe
			MX93_PAD_GPIO_IO23__USDHC3_CMD		0x400013fe
			MX93_PAD_GPIO_IO24__USDHC3_DATA0	0x400013fe
			MX93_PAD_GPIO_IO25__USDHC3_DATA1	0x400013fe
			MX93_PAD_GPIO_IO26__USDHC3_DATA2	0x400013fe
			MX93_PAD_GPIO_IO27__USDHC3_DATA3	0x400013fe
		>;
	};

	pinctrl_wifi_pwr: wifipwrgrp {
		fsl,pins = <
			MX93_PAD_GPIO_IO17__GPIO2_IO17		0x31e
		>;
	};

	pinctrl_wdog: wdoggrp {
		fsl,pins = <
			MX93_PAD_WDOG_ANY__WDOG1_WDOG_ANY	0x82
		>;
	};

	pinctrl_wizirq: wizard-irqgrp {
		fsl,pins = <
			MX93_PAD_CCM_CLKO4__GPIO4_IO29		0x40000d9e
		>;
	};
};

&wdog3 {
	pinctrl-names = "default";
	pinctrl-0 = <&pinctrl_wdog>;
	status = "okay";
};

&mu1 {
	status = "okay";
};

&mu2 {
	status = "okay";
};

//&ocotp {
//	status = "disabled";
//};

&bbnsm_rtc {
	status = "disabled";
};
